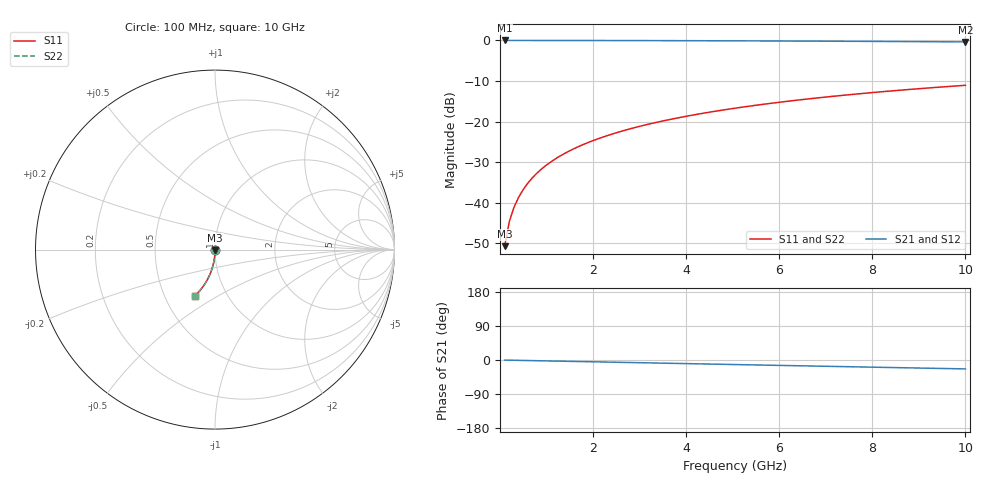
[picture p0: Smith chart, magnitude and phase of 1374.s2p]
# Hz S RI R 50.00
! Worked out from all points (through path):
!   100 points, 100 MHz to 10 GHz, reference 50 ohm
!   highest |S21| = 0.00 dB at 100 MHz (marker M1); lowest = -0.4 dB at 10 GHz (marker M2)
!   group delay of S21, straight-line fit = 6.54 ps
!   lowest |S11| = -50.7 dB at 100 MHz (marker M3), VSWR 1.01, Z = 50 - j0.292 ohm
!   |S11| at or under -10 dB: start of sweep to end of sweep
!   |S22| runs from -50.7 to -11.1 dB; largest |S21 - S12| = 0
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1e8  0.000139 -0.00292  0.9998 -0.00415  0.9998 -0.00415  0.000139 -0.00292
2e8  9.99e-05 -0.00584  0.9998 -0.0083  0.9998 -0.0083  9.99e-05 -0.00584
3e8  3.67e-05 -0.00876  0.9997 -0.0124  0.9997 -0.0124  3.67e-05 -0.00876
4e8  -5.09e-05 -0.0117  0.9996 -0.0166  0.9996 -0.0166  -5.09e-05 -0.0117
5e8  -0.000163 -0.0146  0.9995 -0.0207  0.9995 -0.0207  -0.000163 -0.0146
6e8  -0.000299 -0.0175  0.9994 -0.0249  0.9994 -0.0249  -0.000299 -0.0175
7e8  -0.00046 -0.0204  0.9992 -0.029  0.9992 -0.029  -0.00046 -0.0204
8e8  -0.000644 -0.0233  0.999 -0.0332  0.999 -0.0332  -0.000644 -0.0233
9e8  -0.000853 -0.0263  0.9988 -0.0373  0.9988 -0.0373  -0.000853 -0.0263
1.1e9  -0.00134 -0.0321  0.9982 -0.0456  0.9982 -0.0456  -0.00134 -0.0321
1.4e9  -0.00226 -0.0408  0.9973 -0.058  0.9973 -0.058  -0.00226 -0.0408
1.8e9  -0.00382 -0.0524  0.9956 -0.0746  0.9956 -0.0746  -0.00382 -0.0524
2.1e9  -0.00525 -0.0611  0.9941 -0.0869  0.9941 -0.0869  -0.00525 -0.0611
2.5e9  -0.00748 -0.0725  0.9917 -0.1034  0.9917 -0.1034  -0.00748 -0.0725
2.9e9  -0.0101 -0.0839  0.9889 -0.1197  0.9889 -0.1197  -0.0101 -0.0839
3.4e9  -0.0139 -0.098  0.9849 -0.14  0.9849 -0.14  -0.0139 -0.098
4.2e9  -0.0212 -0.1202  0.9772 -0.1722  0.9772 -0.1722  -0.0212 -0.1202
5.1e9  -0.031 -0.1445  0.9666 -0.2076  0.9666 -0.2076  -0.031 -0.1445
5.9e9  -0.0413 -0.1652  0.9557 -0.2385  0.9557 -0.2385  -0.0413 -0.1652
6.7e9  -0.0528 -0.1852  0.9434 -0.2685  0.9434 -0.2685  -0.0528 -0.1852
8.4e9  -0.0811 -0.2244  0.9131 -0.3294  0.9131 -0.3294  -0.0811 -0.2244
1e10  -0.1118 -0.2568  0.8799 -0.3824  0.8799 -0.3824  -0.1118 -0.2568
